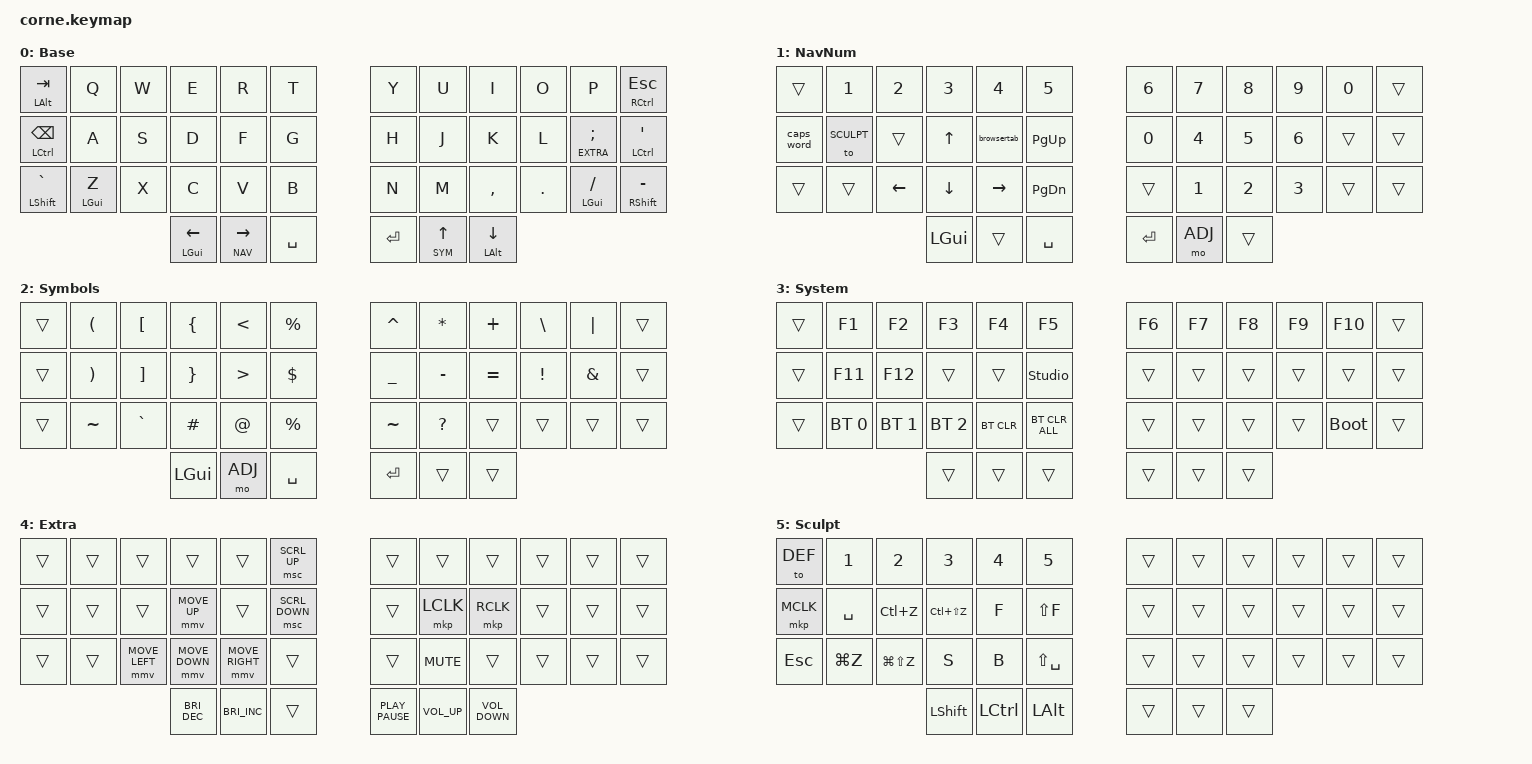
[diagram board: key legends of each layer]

#include <behaviors.dtsi>
#include <dt-bindings/zmk/bt.h>
#include <dt-bindings/zmk/keys.h>
#include <dt-bindings/zmk/pointing.h>

#define DEF 0
#define NAV 1
#define SYM 2
#define ADJ 3
#define EXTRA 4
#define SCULPT 5

// --------------------------------------------------
// DEFAULT MOD-TAPS
// Conservative behavior to prevent rollover errors
// --------------------------------------------------

&mt {
    flavor = "balanced";
    tapping-term-ms = <200>;
    quick-tap-ms = <200>;
    require-prior-idle-ms = <125>;
};

/ {
    behaviors {

        // ------------------------------------------
        // QMK-LIKE SHIFT
        // No prior-idle suppression.
        // Designed to favor tap during fast rollover.
        // ------------------------------------------

        qshift: qmk_like_shift {
            compatible = "zmk,behavior-hold-tap";
            #binding-cells = <2>;
            bindings = <&kp>, <&kp>;

            flavor = "tap-preferred";
            tapping-term-ms = <200>;
            quick-tap-ms = <0>;
            require-prior-idle-ms = <0>;
        };

        // ------------------------------------------
        // ORIGINAL CUSTOM HOME-ROW MODIFIERS
        // Preserved for compatibility
        // ------------------------------------------

        hm: homerow_mods {
            compatible = "zmk,behavior-hold-tap";
            #binding-cells = <2>;
            tapping-term-ms = <200>;
            flavor = "tap-preferred";
            bindings = <&kp>, <&kp>;

            quick-tap-ms = <180>;
            require-prior-idle-ms = <120>;
        };

        para: para {
            compatible = "zmk,behavior-tap-dance";
            #binding-cells = <0>;
            bindings = <&kp LEFT_PARENTHESIS>,
                       <&kp RIGHT_PARENTHESIS>;
        };

        caps: caps {
            compatible = "zmk,behavior-caps-word";
            #binding-cells = <0>;
            continue-list = <MINUS BACKSPACE>;
        };

        paraless: paraless {
            compatible = "zmk,behavior-mod-morph";
            #binding-cells = <0>;
            bindings = <&kp LEFT_PARENTHESIS>,
                       <&kp LESS_THAN>;
            mods = <(MOD_LSFT)>;
        };

        paragreat: paragreat {
            compatible = "zmk,behavior-mod-morph";
            #binding-cells = <0>;
            bindings = <&kp RIGHT_PARENTHESIS>,
                       <&kp GREATER_THAN>;
            mods = <(MOD_LSFT)>;
        };
    };

    // ----------------------------------------------
    // MACROS
    // ----------------------------------------------

    macros {
        browsertab: browsertab {
            compatible = "zmk,behavior-macro";
            #binding-cells = <0>;

            bindings =
                <&macro_press>,
                <&kp LCTRL>,
                <&macro_tap>,
                <&kp TAB>,
                <&macro_release>,
                <&kp LCTRL>;
        };
    };

    combos {
        compatible = "zmk,combos";
    };

    // ==============================================
    // KEYMAP
    // ==============================================

    keymap {
        compatible = "zmk,keymap";

        // ------------------------------------------
        // 0 - BASE
        // ------------------------------------------

        DEF {
            display-name = "Base";

            bindings = <
                &mt LEFT_ALT TAB      &kp Q          &kp W             &kp E           &kp R          &kp T       &kp Y      &kp U           &kp I        &kp O       &kp P                  &mt RIGHT_CONTROL ESCAPE
                &mt LCTRL BACKSPACE   &kp A          &kp S             &kp D           &kp F          &kp G       &kp H      &kp J           &kp K        &kp L       &lt EXTRA SEMICOLON     &mt LEFT_CONTROL SINGLE_QUOTE
                &qshift LSHIFT GRAVE  &mt LEFT_GUI Z &kp X             &kp C           &kp V          &kp B       &kp N      &kp M           &kp COMMA    &kp DOT     &mt LEFT_GUI SLASH     &qshift RSHIFT MINUS

                                                        &mt LGUI LEFT   &lt NAV RIGHT    &kp SPACE       &kp RET    &lt SYM UP_ARROW    &mt LEFT_ALT DOWN
            >;
        };

        // ------------------------------------------
        // 1 - NAVIGATION + NUMBERS
        //
        // NEW:
        // NAV + A enters SCULPT mode.
        // ------------------------------------------

        NAV {
            display-name = "NavNum";

            bindings = <
                &trans       &kp N1        &kp N2        &kp N3          &kp N4          &kp N5         &kp N6     &kp N7       &kp N8        &kp N9       &kp N0      &trans
                &caps_word   &to SCULPT    &trans        &kp UP_ARROW    &browsertab     &kp PAGE_UP    &kp N0     &kp N4       &kp N5        &kp N6       &trans      &trans
                &trans       &trans        &kp LEFT      &kp DOWN        &kp RIGHT_ARROW &kp PAGE_DOWN  &trans     &kp N1       &kp N2        &kp N3       &trans      &trans

                                                        &kp LGUI        &trans          &kp SPACE      &kp RET    &mo ADJ       &trans
            >;
        };

        // ------------------------------------------
        // 2 - SYMBOLS
        // ------------------------------------------

        SYM {
            display-name = "Symbols";

            bindings = <
                &trans       &kp LPAR      &kp LBKT      &kp LBRC       &kp LESS_THAN     &kp PRCNT     &kp CARET   &kp ASTRK     &kp PLUS     &kp BSLH     &kp PIPE     &trans
                &trans       &kp RPAR      &kp RBKT      &kp RBRC       &kp GREATER_THAN  &kp DLLR      &kp UNDER   &kp MINUS     &kp EQUAL    &kp EXCL     &kp AMPS     &trans
                &trans       &kp TILDE     &kp GRAVE     &kp HASH       &kp AT            &kp PRCNT     &kp TILDE   &kp QMARK     &trans       &trans       &trans       &trans

                                                        &kp LGUI        &mo ADJ          &kp SPACE      &kp RET     &trans       &trans
            >;
        };

        // ------------------------------------------
        // 3 - SYSTEM
        // ------------------------------------------

        ADJ {
            display-name = "System";

            bindings = <
                &trans       &kp F1         &kp F2         &kp F3        &kp F4          &kp F5           &kp F6    &kp F7       &kp F8     &kp F9     &kp F10       &trans
                &trans       &kp F11        &kp F12        &trans        &trans          &studio_unlock   &trans    &trans       &trans     &trans     &trans        &trans
                &trans       &bt BT_SEL 0   &bt BT_SEL 1   &bt BT_SEL 2  &bt BT_CLR       &bt BT_CLR_ALL   &trans    &trans       &trans     &trans     &bootloader   &trans

                                                          &trans        &trans          &trans           &trans    &trans       &trans
            >;
        };

        // ------------------------------------------
        // 4 - EXTRA / MOUSE / MEDIA
        // ------------------------------------------

        EXTRA {
            display-name = "Extra";

            bindings = <
                &trans       &trans                 &trans           &trans          &trans              &msc SCRL_UP       &trans    &trans           &trans           &trans    &trans             &trans
                &trans       &trans                 &trans           &mmv MOVE_UP    &trans              &msc SCRL_DOWN     &trans    &mkp LCLK        &mkp RCLK        &trans    &trans             &trans
                &trans       &trans                 &mmv MOVE_LEFT  &mmv MOVE_DOWN  &mmv MOVE_RIGHT     &trans             &trans    &kp K_MUTE       &trans           &trans    &trans             &trans

                                                            &kp C_BRIGHTNESS_DEC   &kp C_BRIGHTNESS_INC   &trans    &kp K_PLAY_PAUSE   &kp C_VOLUME_UP    &kp C_VOLUME_DOWN
            >;
        };

        // ==========================================
        // 5 - SCULPT MODE
        //
        // Enter: NAV + A
        // Exit:  Top-left key (normally Tab/Alt)
        //
        // Left thumb keys:
        // Shift / Ctrl / Alt
        //
        // Right half kept transparent.
        // ==========================================

        SCULPT {
            display-name = "Sculpt";

            bindings = <
                // Top row
                &to DEF      &kp N1          &kp N2          &kp N3       &kp N4       &kp N5       &trans    &trans    &trans    &trans    &trans    &trans

                // Home row
                &mkp MCLK    &kp SPACE       &kp LC(Z)       &kp LC(LS(Z)) &kp F       &kp LS(F)    &trans    &trans    &trans    &trans    &trans    &trans

                // Bottom row
                &kp ESCAPE   &kp LG(Z)       &kp LG(LS(Z))   &kp S         &kp B       &kp LS(SPACE) &trans    &trans    &trans    &trans    &trans    &trans

                // Thumbs
                                                    &kp LSHIFT    &kp LCTRL    &kp LALT    &trans    &trans    &trans
            >;
        };
    };
};
